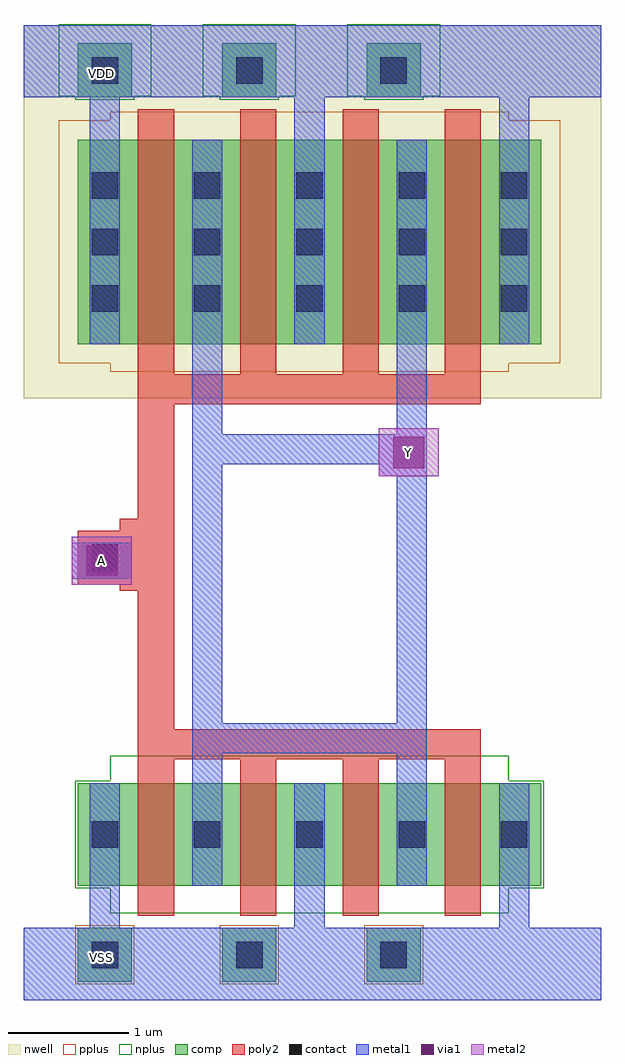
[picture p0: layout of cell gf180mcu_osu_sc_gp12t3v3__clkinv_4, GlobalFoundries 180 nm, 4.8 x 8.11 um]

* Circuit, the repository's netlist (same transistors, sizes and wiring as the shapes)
* Copyright 2022 Google LLC
*
* Licensed under the Apache License, Version 2.0 (the "License");
* you may not use this file except in compliance with the License.
* You may obtain a copy of the License at
*
*      http://www.apache.org/licenses/LICENSE-2.0
*
* Unless required by applicable law or agreed to in writing, software
* distributed under the License is distributed on an "AS IS" BASIS,
* WITHOUT WARRANTIES OR CONDITIONS OF ANY KIND, either express or implied.
* See the License for the specific language governing permissions and
* limitations under the License.

.inc "/import/yukari1/lrburle/OSU_180/char/techfiles/design.hspice"
.lib "/import/yukari1/lrburle/OSU_180/char/techfiles/sm141064.hspice" typical

.GLOBAL VDD
.GLOBAL VSS

.option scale=0.05u

.subckt gf180mcu_osu_sc_gp12t3v3__clkinv_4 A Y
X0 VDD A Y VDD pmos_3p3 w=34 l=6
X1 Y A VDD VDD pmos_3p3 w=34 l=6
X2 VDD A Y VDD pmos_3p3 w=34 l=6
X3 Y A VDD VDD pmos_3p3 w=34 l=6
X4 Y A VSS VSS nmos_3p3 w=17 l=6
X5 Y A VSS VSS nmos_3p3 w=17 l=6
X6 VSS A Y VSS nmos_3p3 w=17 l=6
X7 VSS A Y VSS nmos_3p3 w=17 l=6
.ends

** hspice subcircuit dictionary

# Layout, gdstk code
import gdstk
lib = gdstk.Library(unit=1e-6, precision=1e-09)
def R(c, l, rs):  # rectangles x0, y0, x1, y1
    for r in rs: c.add(gdstk.rectangle(r[:2], r[2:], *l))
def A(c, l, x, y, w, h, nx, ny, dx, dy):  # array of equal rectangles
    R(c, l, [(x+i*dx, y+j*dy, x+i*dx+w, y+j*dy+h) for i in range(nx) for j in range(ny)])
nwell = (21, 0)
comp = (22, 0)
poly2 = (30, 0)
pplus = (31, 0)
nplus = (32, 0)
contact = (33, 0)
metal1 = (34, 0)
via1 = (35, 0)
metal2 = (36, 0)

gf180mcu_osu_sc_gp12t3v3 = lib.new_cell('gf180mcu_osu_sc_gp12t3v3__clkinv_4')
R(gf180mcu_osu_sc_gp12t3v3, nwell, [(0,5,4.8,8.1)])
A(gf180mcu_osu_sc_gp12t3v3, comp, 0.45, 0.15, 0.45, 0.45, 3, 2, 1.2, 7.35)
R(gf180mcu_osu_sc_gp12t3v3, comp, [(0.45,0.95,4.3,1.8), (0.45,5.45,4.3,7.15)])
A(gf180mcu_osu_sc_gp12t3v3, poly2, 0.95, 0.7, 0.3, 1.3, 4, 1, 0.85, 0)
A(gf180mcu_osu_sc_gp12t3v3, poly2, 0.95, 5.2, 0.3, 2.2, 4, 1, 0.85, 0)
R(gf180mcu_osu_sc_gp12t3v3, poly2, [(0.95,2,3.8,2.25), (0.95,2.25,1.25,3.4), (0.8,3.4,1.25,3.45), (0.45,3.45,1.25,3.9), (0.8,3.9,1.25,4), (0.95,4,1.25,4.95), (0.95,4.95,3.8,5.2)])
A(gf180mcu_osu_sc_gp12t3v3, pplus, 0.43, 0.13, 0.49, 0.49, 3, 1, 1.2, 0)
R(gf180mcu_osu_sc_gp12t3v3, pplus, [(0.72,5.22,4.03,5.29), (0.29,5.29,4.46,7.31), (0.72,7.31,4.03,7.38)])
A(gf180mcu_osu_sc_gp12t3v3, nplus, 0.43, 7.48, 0.49, 0.03, 3, 1, 1.2, 0)
A(gf180mcu_osu_sc_gp12t3v3, nplus, 0.29, 7.51, 0.77, 0.6, 3, 1, 1.2, 0)
R(gf180mcu_osu_sc_gp12t3v3, nplus, [(0.72,0.72,4.03,0.93), (0.43,0.93,4.32,1.82), (0.72,1.82,4.03,2.03)])
A(gf180mcu_osu_sc_gp12t3v3, contact, 0.565, 0.265, 0.22, 0.22, 3, 2, 1.2, 7.35)
A(gf180mcu_osu_sc_gp12t3v3, contact, 0.565, 1.265, 0.22, 0.22, 5, 2, 0.85, 4.455)
A(gf180mcu_osu_sc_gp12t3v3, contact, 0.565, 6.19, 0.22, 0.22, 5, 2, 0.85, 0.47)
R(gf180mcu_osu_sc_gp12t3v3, contact, [(0.565,3.565,0.785,3.785)])
A(gf180mcu_osu_sc_gp12t3v3, metal1, 0.55, 0.6, 0.25, 1.2, 3, 1, 1.7, 0)
A(gf180mcu_osu_sc_gp12t3v3, metal1, 0.55, 5.45, 0.25, 2.05, 3, 1, 1.7, 0)
R(gf180mcu_osu_sc_gp12t3v3, metal1, [(0,0,4.8,0.6), (1.4,0.95,1.65,2.05), (3.1,0.95,3.35,2.05), (1.4,2.05,3.35,2.3), (1.4,2.3,1.65,4.45), (3.1,2.3,3.35,4.35), (0.4,3.5,0.9,3.8), (2.95,4.35,3.35,4.45), (1.4,4.45,3.35,4.7), (1.4,4.7,1.65,7.15), (3.1,4.7,3.35,7.15), (0,7.5,4.8,8.1)])
R(gf180mcu_osu_sc_gp12t3v3, via1, [(0.52,3.52,0.78,3.78), (3.07,4.42,3.33,4.68)])
R(gf180mcu_osu_sc_gp12t3v3, metal2, [(0.4,3.45,0.9,3.85), (2.95,4.35,3.45,4.75)])
gf180mcu_osu_sc_gp12t3v3.add(gdstk.Label('VDD', (0.65,7.7), layer=34, texttype=0))
gf180mcu_osu_sc_gp12t3v3.add(gdstk.Label('VSS', (0.65,0.35), layer=34, texttype=0))
gf180mcu_osu_sc_gp12t3v3.add(gdstk.Label('A', (0.65,3.65), layer=36, texttype=10))
gf180mcu_osu_sc_gp12t3v3.add(gdstk.Label('Y', (3.2,4.55), layer=36, texttype=10))

lib.write_gds('gf180mcu_osu_sc_gp12t3v3__clkinv_4.gds')
